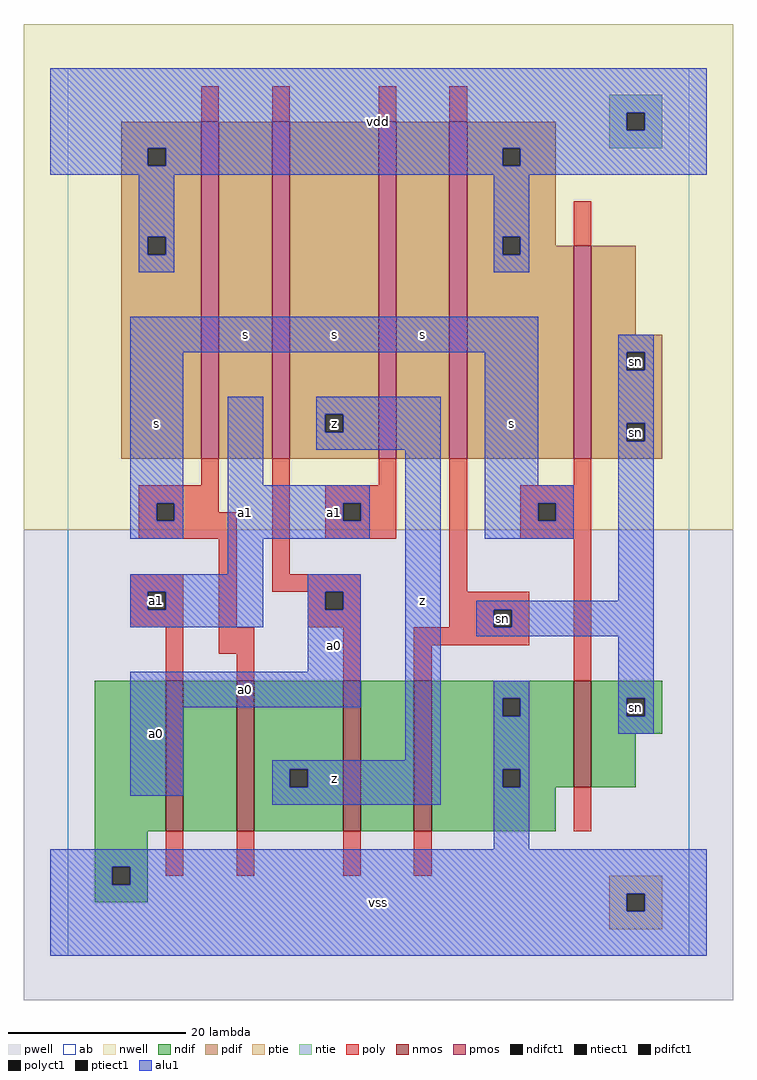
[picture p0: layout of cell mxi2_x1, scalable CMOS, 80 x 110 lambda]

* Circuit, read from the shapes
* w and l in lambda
.subckt mxi2_x1 a0 a1 s sn vdd vss z
M1 n1 a1 vss vss nfet w=17 l=2
M2 z s n1 vss nfet w=17 l=2
M3 n2 a0 z vss nfet w=17 l=2
M4 vss sn n2 vss nfet w=17 l=2
M5 sn s vss vss nfet w=12 l=2
M6 n3 s vdd vdd pfet w=38 l=2
M7 z a0 n3 vdd pfet w=38 l=2
M8 n4 a1 z vdd pfet w=38 l=2
M9 vdd sn n4 vdd pfet w=38 l=2
M10 sn s vdd vdd pfet w=24 l=2
.ends

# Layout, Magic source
magic
tech scmos
<< ab >>
rect 0 0 70 100
<< nwell >>
rect -5 48 75 105
<< pwell >>
rect -5 -5 75 48
<< poly >>
rect 15 94 17 98
rect 23 94 25 98
rect 35 94 37 98
rect 43 94 45 98
rect 57 80 59 85
rect 15 53 17 56
rect 8 51 17 53
rect 8 49 10 51
rect 12 50 17 51
rect 12 49 19 50
rect 8 47 19 49
rect 7 41 13 43
rect 7 39 9 41
rect 11 39 13 41
rect 7 37 13 39
rect 11 31 13 37
rect 17 37 19 47
rect 23 43 25 56
rect 35 53 37 56
rect 29 51 37 53
rect 29 49 31 51
rect 33 49 37 51
rect 29 47 37 49
rect 23 41 33 43
rect 27 39 29 41
rect 31 39 33 41
rect 27 37 33 39
rect 43 41 45 56
rect 57 53 59 56
rect 51 51 59 53
rect 51 49 53 51
rect 55 49 59 51
rect 51 47 59 49
rect 43 39 52 41
rect 43 37 48 39
rect 50 37 52 39
rect 17 34 21 37
rect 19 31 21 34
rect 31 31 33 37
rect 39 35 52 37
rect 39 31 41 35
rect 57 31 59 47
rect 57 14 59 19
rect 11 9 13 14
rect 19 9 21 14
rect 31 9 33 14
rect 39 9 41 14
<< ndif >>
rect 3 14 11 31
rect 13 14 19 31
rect 21 21 31 31
rect 21 19 25 21
rect 27 19 31 21
rect 21 14 31 19
rect 33 14 39 31
rect 41 29 57 31
rect 41 27 49 29
rect 51 27 57 29
rect 41 21 57 27
rect 41 19 49 21
rect 51 19 57 21
rect 59 29 67 31
rect 59 27 63 29
rect 65 27 67 29
rect 59 25 67 27
rect 59 19 64 25
rect 41 14 55 19
rect 3 10 9 14
rect 3 8 5 10
rect 7 8 9 10
rect 3 6 9 8
<< pdif >>
rect 6 91 15 94
rect 6 89 9 91
rect 11 89 15 91
rect 6 81 15 89
rect 6 79 9 81
rect 11 79 15 81
rect 6 56 15 79
rect 17 56 23 94
rect 25 61 35 94
rect 25 59 29 61
rect 31 59 35 61
rect 25 56 35 59
rect 37 56 43 94
rect 45 91 55 94
rect 45 89 49 91
rect 51 89 55 91
rect 45 81 55 89
rect 45 79 49 81
rect 51 80 55 81
rect 51 79 57 80
rect 45 56 57 79
rect 59 70 64 80
rect 59 68 67 70
rect 59 66 63 68
rect 65 66 67 68
rect 59 60 67 66
rect 59 58 63 60
rect 65 58 67 60
rect 59 56 67 58
<< alu1 >>
rect -2 95 72 100
rect -2 93 63 95
rect 65 93 72 95
rect -2 91 72 93
rect -2 89 9 91
rect 11 89 49 91
rect 51 89 72 91
rect -2 88 72 89
rect 8 81 12 88
rect 8 79 9 81
rect 11 79 12 81
rect 8 77 12 79
rect 48 81 52 88
rect 48 79 49 81
rect 51 79 52 81
rect 48 77 52 79
rect 7 68 53 72
rect 7 51 13 68
rect 7 49 10 51
rect 12 49 13 51
rect 7 47 13 49
rect 18 53 22 63
rect 28 61 42 63
rect 28 59 29 61
rect 31 59 42 61
rect 28 57 42 59
rect 18 51 34 53
rect 18 49 31 51
rect 33 49 34 51
rect 18 47 34 49
rect 18 43 22 47
rect 7 41 22 43
rect 7 39 9 41
rect 11 39 22 41
rect 7 37 22 39
rect 27 41 33 43
rect 27 39 29 41
rect 31 39 33 41
rect 27 32 33 39
rect 7 28 33 32
rect 7 18 13 28
rect 38 22 42 57
rect 47 53 53 68
rect 62 68 66 70
rect 62 66 63 68
rect 65 66 66 68
rect 62 60 66 66
rect 62 58 63 60
rect 65 58 66 60
rect 47 51 57 53
rect 47 49 53 51
rect 55 49 57 51
rect 47 47 57 49
rect 62 40 66 58
rect 46 39 66 40
rect 46 37 48 39
rect 50 37 66 39
rect 46 36 66 37
rect 23 21 42 22
rect 23 19 25 21
rect 27 19 42 21
rect 23 17 42 19
rect 48 29 52 31
rect 48 27 49 29
rect 51 27 52 29
rect 48 21 52 27
rect 62 29 66 36
rect 62 27 63 29
rect 65 27 66 29
rect 62 25 66 27
rect 48 19 49 21
rect 51 19 52 21
rect 48 12 52 19
rect -2 10 72 12
rect -2 8 5 10
rect 7 8 72 10
rect -2 7 72 8
rect -2 5 63 7
rect 65 5 72 7
rect -2 0 72 5
<< ptie >>
rect 61 7 67 9
rect 61 5 63 7
rect 65 5 67 7
rect 61 3 67 5
<< ntie >>
rect 61 95 67 97
rect 61 93 63 95
rect 65 93 67 95
rect 61 91 67 93
<< nmos >>
rect 11 14 13 31
rect 19 14 21 31
rect 31 14 33 31
rect 39 14 41 31
rect 57 19 59 31
<< pmos >>
rect 15 56 17 94
rect 23 56 25 94
rect 35 56 37 94
rect 43 56 45 94
rect 57 56 59 80
<< polyct1 >>
rect 10 49 12 51
rect 9 39 11 41
rect 31 49 33 51
rect 29 39 31 41
rect 53 49 55 51
rect 48 37 50 39
<< ndifct1 >>
rect 25 19 27 21
rect 49 27 51 29
rect 49 19 51 21
rect 63 27 65 29
rect 5 8 7 10
<< ntiect1 >>
rect 63 93 65 95
<< ptiect1 >>
rect 63 5 65 7
<< pdifct1 >>
rect 9 89 11 91
rect 9 79 11 81
rect 29 59 31 61
rect 49 89 51 91
rect 49 79 51 81
rect 63 66 65 68
rect 63 58 65 60
<< labels >>
rlabel ndifct1 64 28 64 28 6 sn
rlabel polyct1 49 38 49 38 6 sn
rlabel pdifct1 64 59 64 59 6 sn
rlabel pdifct1 64 67 64 67 6 sn
rlabel alu1 10 25 10 25 6 a0
rlabel polyct1 10 40 10 40 6 a1
rlabel alu1 10 60 10 60 6 s
rlabel alu1 30 20 30 20 6 z
rlabel alu1 20 30 20 30 6 a0
rlabel alu1 30 35 30 35 6 a0
rlabel alu1 30 50 30 50 6 a1
rlabel alu1 20 50 20 50 6 a1
rlabel alu1 20 70 20 70 6 s
rlabel alu1 30 70 30 70 6 s
rlabel pdifct1 30 60 30 60 6 z
rlabel alu1 35 6 35 6 6 vss
rlabel alu1 40 40 40 40 6 z
rlabel alu1 40 70 40 70 6 s
rlabel alu1 50 60 50 60 6 s
rlabel alu1 35 94 35 94 6 vdd
<< end >>
